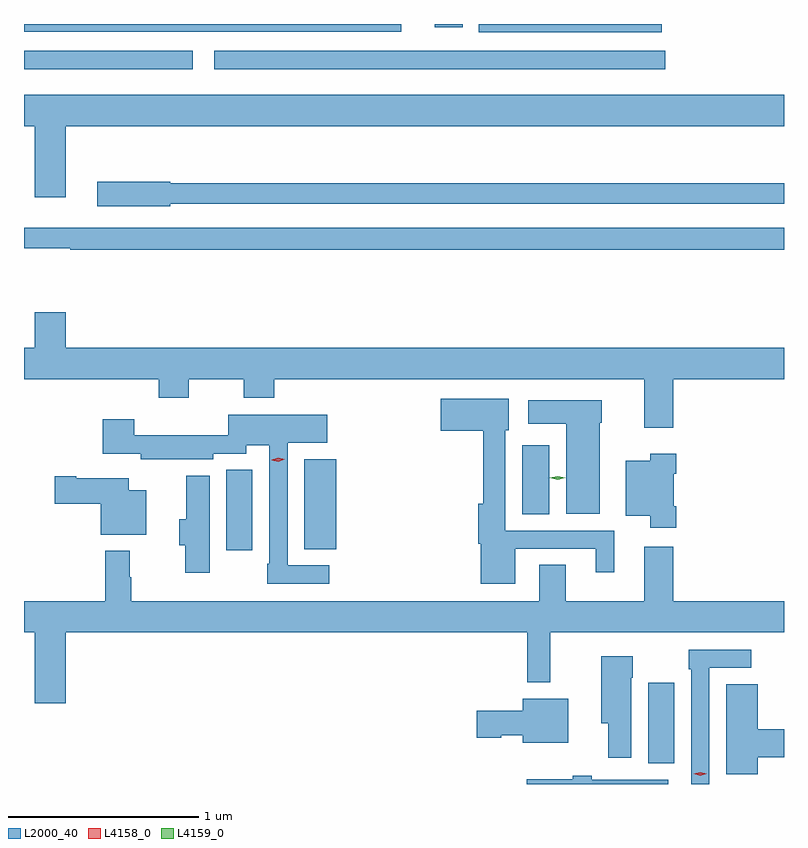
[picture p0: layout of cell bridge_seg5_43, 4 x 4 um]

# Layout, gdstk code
import gdstk
lib = gdstk.Library(unit=1e-6, precision=1e-09)
def R(c, l, rs):  # rectangles x0, y0, x1, y1
    for r in rs: c.add(gdstk.rectangle(r[:2], r[2:], *l))
def P(c, l, *ps):  # polygons
    for p in ps: c.add(gdstk.Polygon(p, *l))
L2000_40 = (2000, 40)
L4158_0 = (4158, 0)
L4159_0 = (4159, 0)

bridge_seg5_43 = lib.new_cell('bridge_seg5_43')
R(bridge_seg5_43, L2000_40, [(659.744,902.689,659.881,903.115), (657.524,903.81,657.661,904.235), (657.935,903.817,658.102,904.291), (659.081,904,659.224,904.363), (656.459,906.344,657.346,906.441), (657.459,906.344,659.833,906.441), (658.853,906.537,659.816,906.581), (656.459,906.54,658.444,906.581), (658.622,906.564,658.768,906.581)])
P(bridge_seg5_43, L2000_40, [(656.459,906.044),(656.516,906.044),(656.516,905.67),(656.68,905.67),(656.68,906.044),(660.459,906.044),(660.459,906.208),(656.459,906.208)],
  [(657.228,905.634),(660.459,905.634),(660.459,905.743),(657.228,905.743),(657.228,905.751),(656.844,905.751),(656.844,905.621),(657.228,905.621)],
  [(660.459,905.508),(656.676,905.508),(656.676,905.509),(656.459,905.509),(656.459,905.4),(656.702,905.4),(656.702,905.392),(660.459,905.392)],
  [(659.876,904.712),(660.459,904.712),(660.459,904.876),(656.68,904.876),(656.68,905.065),(656.516,905.065),(656.516,904.876),(656.459,904.876),(656.459,904.712),(657.167,904.712),(657.167,904.613),(657.327,904.613),(657.327,904.712),(657.616,904.712),(657.616,904.613),(657.776,904.613),(657.776,904.712),(659.723,904.712),(659.723,904.455),(659.876,904.455)],
  [(659.044,903.819),(659.468,903.819),(659.468,903.696),(659.566,903.696),(659.566,903.915),(658.992,903.915),(658.992,904.443),(659.011,904.443),(659.011,904.609),(658.653,904.609),(658.653,904.439),(658.876,904.439),(658.876,904.057),(658.85,904.057),(658.85,903.846),(658.862,903.846),(658.862,903.635),(659.044,903.635)],
  [(659.488,904.482),(659.5,904.482),(659.5,904.6),(659.112,904.6),(659.112,904.478),(659.312,904.478),(659.312,904.004),(659.488,904.004)],
  [(658.066,903.732),(657.846,903.732),(657.846,904.376),(658.054,904.376),(658.054,904.525),(657.534,904.525),(657.534,904.417),(657.038,904.417),(657.038,904.501),(656.873,904.501),(656.873,904.319),(657.074,904.319),(657.074,904.289),(657.454,904.289),(657.454,904.32),(657.63,904.32),(657.63,904.364),(657.75,904.364),(657.75,903.739),(657.738,903.739),(657.738,903.636),(658.066,903.636)],
  [(659.891,904.042),(659.878,904.042),(659.878,904.214),(659.891,904.214),(659.891,904.318),(659.756,904.318),(659.756,904.282),(659.627,904.282),(659.627,903.992),(659.756,903.992),(659.756,903.93),(659.891,903.93)],
  [(657.436,904.204),(657.314,904.204),(657.314,903.975),(657.275,903.975),(657.275,903.838),(657.307,903.838),(657.307,903.693),(657.436,903.693)],
  [(657.103,904.126),(657.01,904.126),(657.01,904.189),(656.734,904.189),(656.734,904.202),(656.622,904.202),(656.622,904.055),(656.864,904.055),(656.864,903.893),(657.103,903.893)],
  [(656.68,903.38),(659.107,903.38),(659.107,903.117),(659.228,903.117),(659.228,903.38),(660.459,903.38),(660.459,903.544),(659.876,903.544),(659.876,903.829),(659.723,903.829),(659.723,903.544),(659.311,903.544),(659.311,903.734),(659.171,903.734),(659.171,903.544),(657.023,903.544),(657.023,903.668),(657.016,903.668),(657.016,903.808),(656.887,903.808),(656.887,903.544),(656.459,903.544),(656.459,903.38),(656.516,903.38),(656.516,903.006),(656.68,903.006)],
  [(660.066,903.192),(660.286,903.192),(660.286,903.288),(659.958,903.288),(659.958,903.185),(659.97,903.185),(659.97,902.581),(660.066,902.581)],
  [(659.656,903.14),(659.664,903.14),(659.664,903.253),(659.498,903.253),(659.498,902.9),(659.534,902.9),(659.534,902.718),(659.656,902.718)],
  [(660.322,902.723),(660.459,902.723),(660.459,902.87),(660.322,902.87),(660.322,903.107),(660.155,903.107),(660.155,902.633),(660.322,902.633)],
  [(659.323,903.031),(659.084,903.031),(659.084,902.967),(658.842,902.967),(658.842,902.825),(658.971,902.825),(658.971,902.837),(659.084,902.837),(659.084,902.798),(659.323,902.798)],
  [(659.85,902.604),(659.448,902.604),(659.448,902.624),(659.348,902.624),(659.348,902.605),(659.105,902.605),(659.105,902.581),(659.85,902.581)])
P(bridge_seg5_43, L4158_0, [(660.017,902.624),(659.983,902.634),(659.983,902.634),(659.983,902.634),(660.017,902.644),(660.052,902.634),(660.052,902.634),(660.052,902.634)],
  [(657.797,904.278),(657.762,904.286),(657.762,904.287),(657.762,904.287),(657.797,904.298),(657.832,904.29),(657.832,904.289),(657.832,904.289)])
P(bridge_seg5_43, L4159_0, [(659.267,904.182),(659.227,904.192),(659.226,904.192),(659.227,904.192),(659.267,904.202),(659.308,904.193),(659.308,904.193),(659.308,904.192)])

lib.write_gds('bridge_seg5_43.gds')
